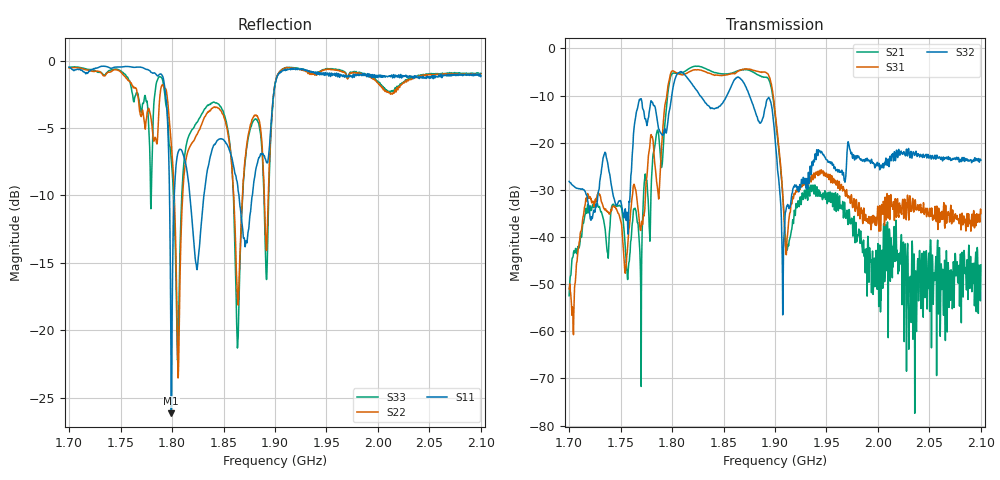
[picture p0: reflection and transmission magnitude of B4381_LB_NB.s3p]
! Matrix data file written by TouchstoneData, EPCOS AG
! FILENAME: "newformat_LY67A_Filter2_1_NB.s3p"
! COMMENT: "(LY67A_Filter2_1_NB.s3p) Epcos AG 17.01.2012"
! INFO: nport=3, nfreq=1601
! DATE: "Wed Feb  8 11:20:51 2012"
! USER: "Michael Schemies"
! port | pin | signal
!  1  |  4  |  in
!  2  |  6  |  out
!  3  |  7  |  out
# MHZ S MA R 50
! freq  magS11 angS11  magS12 angS12  magS13 angS13  ...
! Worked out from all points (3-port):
!   1601 points, 1.7 GHz to 2.1 GHz, reference 50 ohm
!   strongest paths, dB at 1.7 GHz, 1.8 GHz, 1.9 GHz, 2 GHz, 2.1 GHz:
!     S32: -28.2, -9.5, -19.1, -24.8, -23.7
!     S31: -51.0, -4.8, -13.2, -33.7, -35.0
!     S21: -52.5, -5.4, -14.0, -41.4, -45.9
!   lowest |S11| = -26.1 dB at 1.799 GHz (marker M1), VSWR 1.10, Z = 45.5 + j1.39 ohm
!   |S11| at or under -10 dB: 1.79753 GHz to 1.80215 GHz (4.621 MHz wide, 0.257 % of centre); 1.817 GHz to 1.831 GHz (13.6 MHz wide, 0.745 % of centre); 1.865 GHz to 1.878 GHz (13.01 MHz wide, 0.695 % of centre)
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1700  0.9456 -116.8  0.002393 88.0  0.002816 18.5
      0.002382 88.1  0.9387 -81.3  0.03896 33.9
      0.002816 18.7  0.03891 34.0  0.9441 -78.7
1718.25  0.9012 -117.5  0.02076 -118.3  0.0277 62.7
         0.02075 -118.2  0.9213 -86.0  0.0237 28.6
         0.02773 62.8  0.02372 28.6  0.9278 -83.1
1755.75  0.9508 -132.3  0.004674 126.4  0.005746 54.3
         0.004682 126.5  0.857 -101.6  0.01593 120.8
         0.005738 54.2  0.0159 120.6  0.872 -99.5
1769.25  0.9454 -142.3  0.00443 157.3  0.01173 35.9
         0.004435 157.3  0.6287 -110.1  0.2895 97.7
         0.01172 35.9  0.2886 97.7  0.6684 -104.3
1799.25  0.0493 161.9  0.5221 -160.4  0.5619 20.6
         0.5229 -160.3  0.4911 -151.2  0.2911 -175.3
         0.5626 20.8  0.2912 -175.3  0.4276 -148.9
1849.5  0.5102 -107.0  0.5361 -2.6  0.5169 177.0
        0.5361 -2.6  0.6299 -99.0  0.2683 -156.7
        0.5167 176.9  0.2682 -156.8  0.6514 -98.1
1890.5  0.4329 -17.1  0.4951 -156.1  0.5581 21.5
        0.4958 -156.1  0.2395 -157.0  0.2342 127.2
        0.5588 21.6  0.2342 127.2  0.2083 -148.5
1900  0.8147 -15.4  0.2002 111.4  0.2202 -69.3
      0.2004 111.4  0.8162 12.6  0.1105 -49.3
      0.2198 -69.2  0.1103 -49.4  0.8152 13.1
1911  0.9279 -45.4  0.007364 139.8  0.006505 -3.3
      0.007352 139.8  0.9414 -25.0  0.02031 62.0
      0.006488 -3.2  0.0203 62.1  0.9431 -23.9
2100  0.8797 -93.4  0.00508 118.4  0.01774 11.1
      0.005069 118.5  0.893 -65.2  0.06527 40.9
      0.01774 11.2  0.0653 40.8  0.897 -62.1
